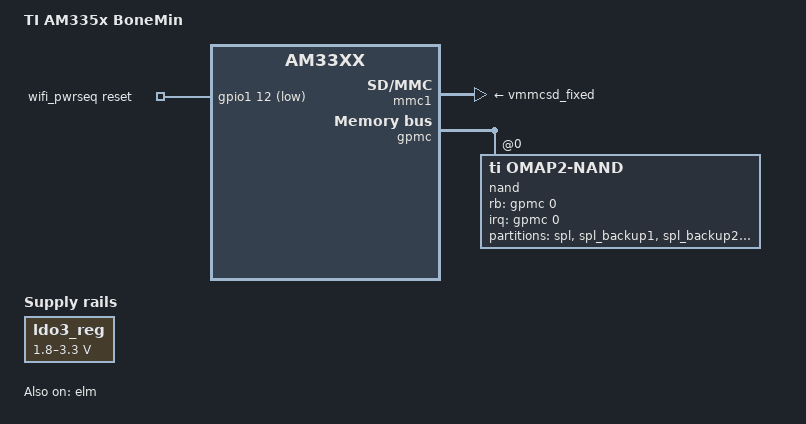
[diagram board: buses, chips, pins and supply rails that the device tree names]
// SPDX-License-Identifier: GPL-2.0-only
/*
 * Copyright (C) 2012 Texas Instruments Incorporated - http://www.ti.com/
 */
/dts-v1/;

#include "am33xx.dtsi"
#include "am335x-bone-common.dtsi"
#include <dt-bindings/interrupt-controller/irq.h>

/ {
	model = "TI AM335x BoneMin";
	compatible = "ti,am335x-bone", "ti,am33xx";
	
	wifi_pwrseq: wifi_pwrseq {
		compatible = "mmc-pwrseq-simple";
		reset-gpios = <&gpio1 12 GPIO_ACTIVE_LOW>; /* GPIO_1[12] */
		/* The esp8089 needs 200 ms after driving wifi-en high */
		post-power-on-delay-ms = <200>;
	};
};

&ldo3_reg {
	regulator-min-microvolt = <1800000>;
	regulator-max-microvolt = <3300000>;
	regulator-always-on;
};

&mmc1 {
	/* vmmc-supply = <&ldo3_reg>;*/
	vmmc-supply = <&vmmcsd_fixed>;
};

&am33xx_pinmux {
	nandflash_pins_s0: nandflash_pins_s0 {
		pinctrl-single,pins = <
			0x0 (PIN_INPUT_PULLUP | MUX_MODE0)	/* gpmc_ad0.gpmc_ad0 */
			0x4 (PIN_INPUT_PULLUP | MUX_MODE0)	/* gpmc_ad1.gpmc_ad1 */
			0x8 (PIN_INPUT_PULLUP | MUX_MODE0)	/* gpmc_ad2.gpmc_ad2 */
			0xc (PIN_INPUT_PULLUP | MUX_MODE0)	/* gpmc_ad3.gpmc_ad3 */
			0x10 (PIN_INPUT_PULLUP | MUX_MODE0)	/* gpmc_ad4.gpmc_ad4 */
			0x14 (PIN_INPUT_PULLUP | MUX_MODE0)	/* gpmc_ad5.gpmc_ad5 */
			0x18 (PIN_INPUT_PULLUP | MUX_MODE0)	/* gpmc_ad6.gpmc_ad6 */
			0x1c (PIN_INPUT_PULLUP | MUX_MODE0)	/* gpmc_ad7.gpmc_ad7 */
			0x70 (PIN_INPUT_PULLUP | MUX_MODE0)	/* gpmc_wait0.gpmc_wait0 */
			0x74 (PIN_INPUT_PULLUP | MUX_MODE7)	/* gpmc_wpn.gpio0_30 */
			0x7c (PIN_OUTPUT | MUX_MODE0)		/* gpmc_csn0.gpmc_csn0  */
			0x90 (PIN_OUTPUT | MUX_MODE0)		/* gpmc_advn_ale.gpmc_advn_ale */
			0x94 (PIN_OUTPUT | MUX_MODE0)		/* gpmc_oen_ren.gpmc_oen_ren */
			0x98 (PIN_OUTPUT | MUX_MODE0)		/* gpmc_wen.gpmc_wen */
			0x9c (PIN_OUTPUT | MUX_MODE0)		/* gpmc_be0n_cle.gpmc_be0n_cle */
		>;
	};
	
};

&elm {
	status = "okay";
};


&gpmc {
	status = "okay";
	pinctrl-names = "default";
	pinctrl-0 = <&nandflash_pins_s0>;
	ranges = <0 0 0x08000000 0x1000000>;	/* CS0: 16MB for NAND */
	nand@0,0 {
		compatible = "ti,omap2-nand";
		reg = <0 0 4>; /* CS0, offset 0, IO size 4 */
		interrupt-parent = <&gpmc>;
		interrupts = <0 IRQ_TYPE_NONE>, /* fifoevent */
			     <1 IRQ_TYPE_NONE>;	/* termcount */
		rb-gpios = <&gpmc 0 GPIO_ACTIVE_HIGH>; /* gpmc_wait0 */
		ti,nand-xfer-type = "prefetch-dma";
		ti,nand-ecc-opt = "bch8";
		ti,elm-id = <&elm>;
		nand-bus-width = <8>;
		gpmc,device-width = <1>;

        gpmc,sync-clk-ps = <0>;
        gpmc,cs-on-ns = <0>;
        gpmc,cs-rd-off-ns = <280>;
        gpmc,cs-wr-off-ns = <280>;
        gpmc,adv-on-ns = <50>;     
        gpmc,adv-rd-off-ns = <280>;
        gpmc,adv-wr-off-ns = <280>;
        gpmc,we-on-ns = <50>;
        gpmc,we-off-ns = <200>;
        gpmc,oe-on-ns = <50>;
        gpmc,oe-off-ns = <150>;
        gpmc,access-ns = <200>;
        gpmc,rd-cycle-ns = <300>;
        gpmc,wr-cycle-ns = <300>;
        gpmc,wait-on-read = "true";
        gpmc,wait-on-write = "true";
        gpmc,bus-turnaround-ns = <0>;
        gpmc,cycle2cycle-delay-ns = <120>;
        gpmc,cycle2cycle-samecsen = "true";
        gpmc,clk-activation-ns = <0>;
        gpmc,wait-monitoring-ns = <0>;
        gpmc,wr-access-ns = <40>;
        gpmc,wr-data-mux-bus-ns = <0>;
		
/*	
		gpmc,sync-clk-ps = <0>;
		gpmc,cs-on-ns = <0>;
		gpmc,cs-rd-off-ns = <44>;
		gpmc,cs-wr-off-ns = <44>;
		gpmc,adv-on-ns = <6>;
		gpmc,adv-rd-off-ns = <34>;
		gpmc,adv-wr-off-ns = <44>;
		gpmc,we-on-ns = <0>;
		gpmc,we-off-ns = <40>;
		gpmc,oe-on-ns = <0>;
		gpmc,oe-off-ns = <54>;
		gpmc,access-ns = <64>;
		gpmc,rd-cycle-ns = <82>;
		gpmc,wr-cycle-ns = <82>;
		gpmc,bus-turnaround-ns = <0>;
		gpmc,cycle2cycle-delay-ns = <0>;
		gpmc,clk-activation-ns = <0>;
		gpmc,wr-access-ns = <40>;
		gpmc,wr-data-mux-bus-ns = <0>;
*/

	
		/* MTD partition table */
		/* All SPL-* partitions are sized to minimal length
		 * which can be independently programmable. For
		 * NAND flash this is equal to size of erase-block */
		#address-cells = <1>;
		#size-cells = <1>;
		partition@0 {
			label = "spl";
			reg = <0x0 0x20000>;
		};

		partition@1 {
			label = "spl_backup1";
			reg = <0x20000 0x20000>;
		};

		partition@2 {
			label = "spl_backup2";
			reg = <0x40000 0x20000>;
		};

		partition@3 {
			label = "spl_backup3";
			reg = <0x60000 0x20000>;
		};

		partition@4 {
			label = "u-boot";
			reg = <0x80000 0x1c0000>;
		};

		partition@5 {
			label = "bootenv";
			reg = <0x240000 0x20000>;
		};
		
		partition@6 {
			label = "fdt";
			reg = <0x260000 0x20000>;
		};

		partition@7 {
			label = "kernel";
			reg = <0x280000 0x500000>;
		};

		partition@8 {
			label = "root";
			reg = <0x800000 0x1400000>;
		};
		
		partition@9 {
			label = "config";
			reg = <0x1c00000 0x1400000>;
		};
	};
};

